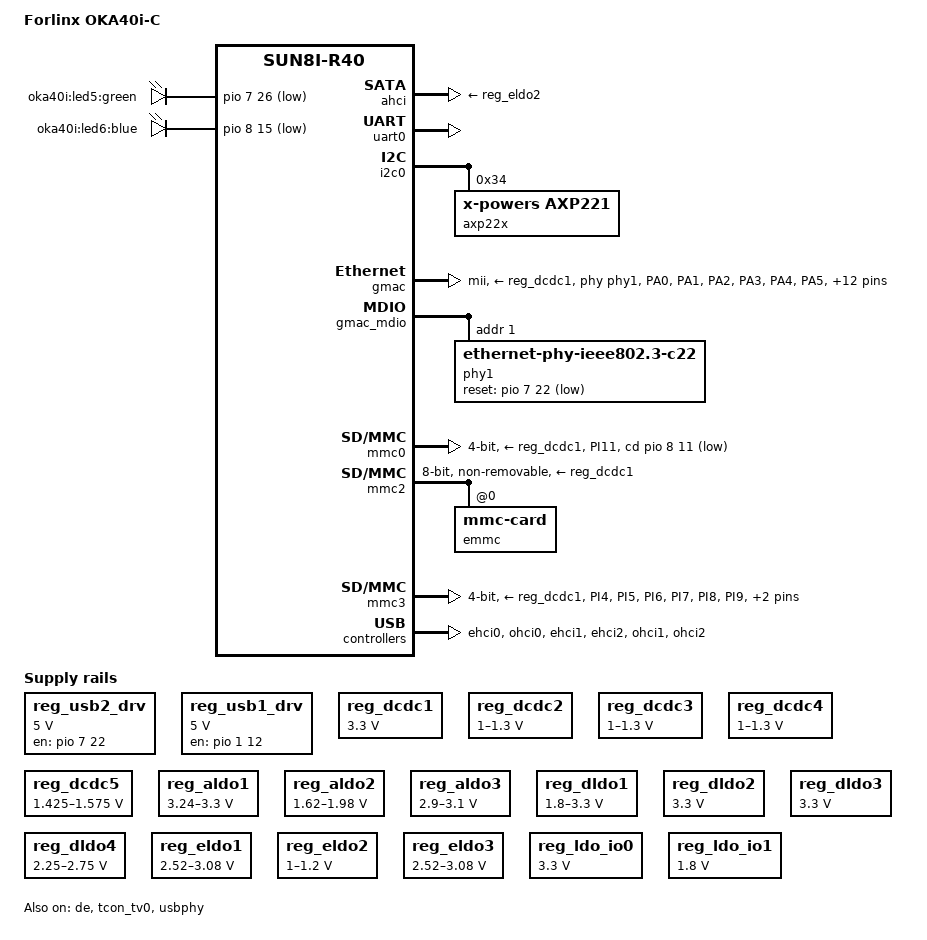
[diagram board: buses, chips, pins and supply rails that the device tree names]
/*
 * Copyright (C) 2017 Icenowy Zheng <icenowy@aosc.io>
 *
 * This file is dual-licensed: you can use it either under the terms
 * of the GPL or the X11 license, at your option. Note that this dual
 * licensing only applies to this file, and not this project as a
 * whole.
 *
 *  a) This file is free software; you can redistribute it and/or
 *     modify it under the terms of the GNU General Public License as
 *     published by the Free Software Foundation; either version 2 of the
 *     License, or (at your option) any later version.
 *
 *     This file is distributed in the hope that it will be useful,
 *     but WITHOUT ANY WARRANTY; without even the implied warranty of
 *     MERCHANTABILITY or FITNESS FOR A PARTICULAR PURPOSE.  See the
 *     GNU General Public License for more details.
 *
 * Or, alternatively,
 *
 *  b) Permission is hereby granted, free of charge, to any person
 *     obtaining a copy of this software and associated documentation
 *     files (the "Software"), to deal in the Software without
 *     restriction, including without limitation the rights to use,
 *     copy, modify, merge, publish, distribute, sublicense, and/or
 *     sell copies of the Software, and to permit persons to whom the
 *     Software is furnished to do so, subject to the following
 *     conditions:
 *
 *     The above copyright notice and this permission notice shall be
 *     included in all copies or substantial portions of the Software.
 *
 *     THE SOFTWARE IS PROVIDED "AS IS", WITHOUT WARRANTY OF ANY KIND,
 *     EXPRESS OR IMPLIED, INCLUDING BUT NOT LIMITED TO THE WARRANTIES
 *     OF MERCHANTABILITY, FITNESS FOR A PARTICULAR PURPOSE AND
 *     NONINFRINGEMENT. IN NO EVENT SHALL THE AUTHORS OR COPYRIGHT
 *     HOLDERS BE LIABLE FOR ANY CLAIM, DAMAGES OR OTHER LIABILITY,
 *     WHETHER IN AN ACTION OF CONTRACT, TORT OR OTHERWISE, ARISING
 *     FROM, OUT OF OR IN CONNECTION WITH THE SOFTWARE OR THE USE OR
 *     OTHER DEALINGS IN THE SOFTWARE.
 */

/dts-v1/;
#include "sun8i-r40.dtsi"

#include <dt-bindings/gpio/gpio.h>

/ {
	model = "Forlinx OKA40i-C";
	compatible = "forlinx,oka40i", "allwinner,sun8i-r40";

	aliases {
		ethernet0 = &gmac;
		serial0 = &uart0;
	};

	chosen {
		stdout-path = "serial0:115200n8";
	};
	
//	reg_usb0_pwr: usb0_pwr {
//		compatible = "regulator-fixed";
//		regulator-name = "usb0_pwr";
//		regulator-min-microvolt = <5000000>;
//		regulator-max-microvolt = <5000000>;
//		gpio = <&pio 8 13 GPIO_ACTIVE_HIGH>; /* PI13 */
//		//gpios = <&axp_gpio 5 GPIO_ACTIVE_HIGH>; /* SUNXI_GPIO_AXP0_VBUS_ENABLE */
//		enable-active-high;
//	};
	
	reg_usb2_drv: usb2_drv  {
		compatible = "regulator-fixed";
		regulator-name = "usb2_drv";
		regulator-min-microvolt = <5000000>;
		regulator-max-microvolt = <5000000>;
		gpio = <&pio 7 22 GPIO_ACTIVE_HIGH>; /* PH22 */
		enable-active-high;		
	};
	
	reg_usb1_drv: usb1_drv {
		compatible = "regulator-fixed";
		regulator-name = "usb1_drv";
		regulator-min-microvolt = <5000000>;
		regulator-max-microvolt = <5000000>;
		gpio = <&pio 1 12 GPIO_ACTIVE_HIGH>; /* PB12 */
		enable-active-high;		
	};
	
	leds {
		compatible = "gpio-leds";
		
		user-led5-green {
			label = "oka40i:led5:green";
			gpios = <&pio 7 26 GPIO_ACTIVE_LOW>; /*PH26-led5*/			
		};

		user-led6-blue {
			label = "oka40i:led6:blue";
			gpios = <&pio 8 15 GPIO_ACTIVE_LOW>; /*PI15-led6*/
		};
	};

};


&ahci {
	ahci-supply = <&reg_dldo4>;
	phy-supply = <&reg_eldo2>; 
	status = "okay";
};

&de {
	status = "okay";
};

&tcon_tv0 {
	status = "okay";
 }; 
 
&uart0 {
	pinctrl-names = "default";
	pinctrl-0 = <&uart0_pb_pins>;
	status = "okay";
};

&i2c0 {
	status = "okay";

	axp22x: pmic@34 {
		compatible = "x-powers,axp221";
		reg = <0x34>;
		interrupt-parent = <&nmi_intc>;
		interrupts = <0 IRQ_TYPE_LEVEL_LOW>;
	};
};

#include "axp22x.dtsi"

&reg_dcdc1 {
	regulator-always-on;
	regulator-min-microvolt = <3300000>;
	regulator-max-microvolt = <3300000>;
	regulator-name = "vcc-3v3";
};

&reg_dcdc2 {
	regulator-always-on;
	regulator-min-microvolt = <1000000>;
	regulator-max-microvolt = <1300000>;
	regulator-name = "vcc-cpu";
};

&reg_dcdc3 {
	regulator-always-on;
	regulator-min-microvolt = <1000000>;
	regulator-max-microvolt = <1300000>;
	regulator-name = "vdd-sys";
};

&reg_dcdc4 {
	regulator-always-on;
	regulator-min-microvolt = <1000000>;
	regulator-max-microvolt = <1300000>;
	regulator-name = "dcdc4";
};

&reg_dcdc5 {
	regulator-always-on;
	/* ddr3 Supply voltage operating range */
	regulator-min-microvolt = <1425000>;
	regulator-max-microvolt = <1575000>;
	regulator-name = "vcc-dram";
};

/* vcc-tvin vcc-25 */
&reg_aldo1 {
	regulator-always-on;
	regulator-min-microvolt = <3240000>;
	regulator-max-microvolt = <3300000>;
	regulator-name = "vcc-tvin";
};

/* vcc-pc vcc-emmcvq18 */
&reg_aldo2 {
	regulator-always-on;
	regulator-min-microvolt = <1620000>;
	regulator-max-microvolt = <1980000>;
	regulator-name = "vcc-emmcvq18";
};

&reg_aldo3 {
	regulator-always-on;
	regulator-min-microvolt = <2900000>;
	regulator-max-microvolt = <3100000>;
	regulator-name = "avcc";
};

/* vcc-io-wifi vcc-pg */
&reg_dldo1 {
	regulator-min-microvolt = <1800000>;
	regulator-max-microvolt = <3300000>;
	regulator-name = "vcc-wifi-io-vcc-pg";
};

&reg_dldo2 {
	regulator-min-microvolt = <3300000>;
	regulator-max-microvolt = <3300000>;
	regulator-name = "vcc-wifi";
};

&reg_dldo3 {
	regulator-min-microvolt = <3300000>;
	regulator-max-microvolt = <3300000>;
	regulator-name = "wlan-power-ext";
};

/* vcc-sata-25 vcc-pf */
&reg_dldo4 {
	regulator-min-microvolt = <2250000>;
	regulator-max-microvolt = <2750000>;
	regulator-name = "vcc-sata25-vcc-pf";
};

&reg_eldo1 {
	regulator-min-microvolt = <2520000>;
	regulator-max-microvolt = <3080000>;
	regulator-name = "isp-dvdd";
};

/* vcc-sata-12 */
&reg_eldo2 {
	regulator-min-microvolt = <1000000>;
	regulator-max-microvolt = <1200000>;
	regulator-name = "vcc-sata12";
};

&reg_eldo3 {
	regulator-min-microvolt = <2520000>;
	regulator-max-microvolt = <3080000>;
	regulator-name = "vcc-pe";
};

&reg_ldo_io0 {
	regulator-min-microvolt = <3300000>;
	regulator-max-microvolt = <3300000>;
	regulator-name = "vcc-ctp";
	status = "okay";
};

&reg_ldo_io1 {
	regulator-min-microvolt = <1800000>;
	regulator-max-microvolt = <1800000>;
	regulator-name = "vcc-i2s-18";
	status = "okay";
};

&reg_dc1sw {
	regulator-name = "vcc-lcd";
	status = "okay";
};

&ac_power_supply {
	status = "okay";
};

&reg_drivevbus {
	regulator-name = "usb0-vbus";
	status = "okay";
};

&pio {
	pinctrl-names = "default";
	pinctrl-0 = <&clk_out_a_pin>;
	
	vcc-pa-supply = <&reg_dcdc1>;
	vcc-pc-supply = <&reg_aldo2>;
	vcc-pd-supply = <&reg_dcdc1>;	
	vcc-pe-supply = <&reg_eldo3>;	
	vcc-pf-supply = <&reg_dldo4>;
	vcc-pg-supply = <&reg_dldo1>; 
	 
	mmc0_cd_pin_oka40i: mmc0_cd_pin_oka40i@0 {
		pins = "PI11";
		function = "gpio_in";
		bias-pull-up;
	};
	
	mmc3_pi_pins: mmc3_pi_pins@0 {
		pins = "PI4", "PI5", "PI6", "PI7",
				"PI8", "PI9";
		function = "mmc3";
		drive-strength = <30>;
		bias-pull-up;	
	};
	mmc3_cd_pin_oka40i: mmc3_cd_pin_oka40i@0 {
		pins = "PI10";
		function = "gpio_in";
		bias-pull-up;
	};
	
	usb0_id_detect_pin: usb0_id_detect_pin@0 {
		pins = "PH21";
		function = "gpio_in";
		bias-pull-up;
	};
	usb0_vbus_detect_pin: usb0_vbus_detect_pin@0 {
		pins = "PH17";
		function = "gpio_in";
	};

	gmac_pins_mii_a: gmac_pins_mii_a@0 {
		pins = "PA0", "PA1", "PA2",
		       "PA3", "PA4", "PA5", "PA6",
		       "PA7", "PA8", "PA9", "PA10",
		       "PA11", "PA12", "PA13", "PA14",
		       "PA15", "PA16", "PA17";
		function = "gmac";
		drive-strength = <30>;
	};
};

&gmac {
	pinctrl-names = "default";
	pinctrl-0 = <&gmac_pins_mii_a>;
	phy-handle = <&phy1>;
	phy-mode = "mii";
	phy-supply = <&reg_dcdc1>;
	status = "okay";
};
&gmac_mdio {
	phy1: ethernet-phy@1 {
		compatible = "ethernet-phy-ieee802.3-c22";
		reg = <1>;
		max-speed = <100>;
		reset-gpios = <&pio 7 22 GPIO_ACTIVE_LOW>; /* PH22 */
		reset-assert-us = <10000>;
		reset-deassert-us = <25000>;
	};
};

/* mmc0 card detect - ball V24 : gpio PI11 */
&mmc0 {
	pinctrl-names = "default";
	pinctrl-0 = <&mmc0_pins>, <&mmc0_cd_pin_oka40i>;
	vmmc-supply = <&reg_dcdc1>;
	bus-width = <4>;
	cd-gpios = <&pio 8 11 GPIO_ACTIVE_HIGH>; 
	cd-inverted;
	no-1-8-v;
	status = "okay";
};

&mmc2 { 
	vmmc-supply = <&reg_dcdc1>;
	vqmmc-supply = <&reg_aldo2>;
	bus-width = <8>;
	non-removable;
	cap-mmc-hw-reset;	
	status = "okay";
	
	emmc: emmc@0 {
		reg = <0>;
		compatible = "mmc-card";
	};
};

/* mmc3 card detect -  ball V23 gpio PI10 */
&mmc3 {
	pinctrl-names = "default";
	pinctrl-0 = <&mmc3_pi_pins>, <&mmc3_cd_pin_oka40i>;
	vmmc-supply = <&reg_dcdc1>;
	bus-width = <4>;
	cd-gpios = <&pio 8 10 GPIO_ACTIVE_HIGH>;
	cd-inverted;
	no-1-8-v; 
	status = "okay";
};


&ehci0 {
	status = "okay";
};
&ohci0 {
	status = "okay";
};


/* USB2514B 4-port USB 2.0 hub here */
/* P32=port1, P34=port2, miniPCIe=port3, WiFi/BT=port4 */

&ehci1 {
	status = "okay";
};

/* P33 connector */
&ehci2 {
	status = "okay";
};

&ohci1 {
	status = "okay";
};

&ohci2 {
	status = "okay";
};

&usb_power_supply {
	status = "okay";
};

&usbphy {
	usb1_vbus-supply = <&reg_usb1_drv>;
	usb2_vbus-supply = <&reg_usb2_drv>;

	pinctrl-names = "default";
	pinctrl-0 = <&usb0_id_detect_pin>, <&usb0_vbus_detect_pin>;
	
	usb0_id_det-gpio = <&pio 7 21 GPIO_ACTIVE_HIGH>; /* PH21 */
	usb0_vbus_det-gpios = <&pio 7 17 GPIO_ACTIVE_HIGH>; /* PH17 */
	usb0_vbus-supply = &reg_drivevbus; //<&reg_usb0_pwr>;
	usb0_vbus_power-supply = &ac_power_supply; //<&usb_power_supply>;
	
	/*usb1_vbus-supply = <&reg_vcc5v0>;*/
	
	status = "okay";
};
